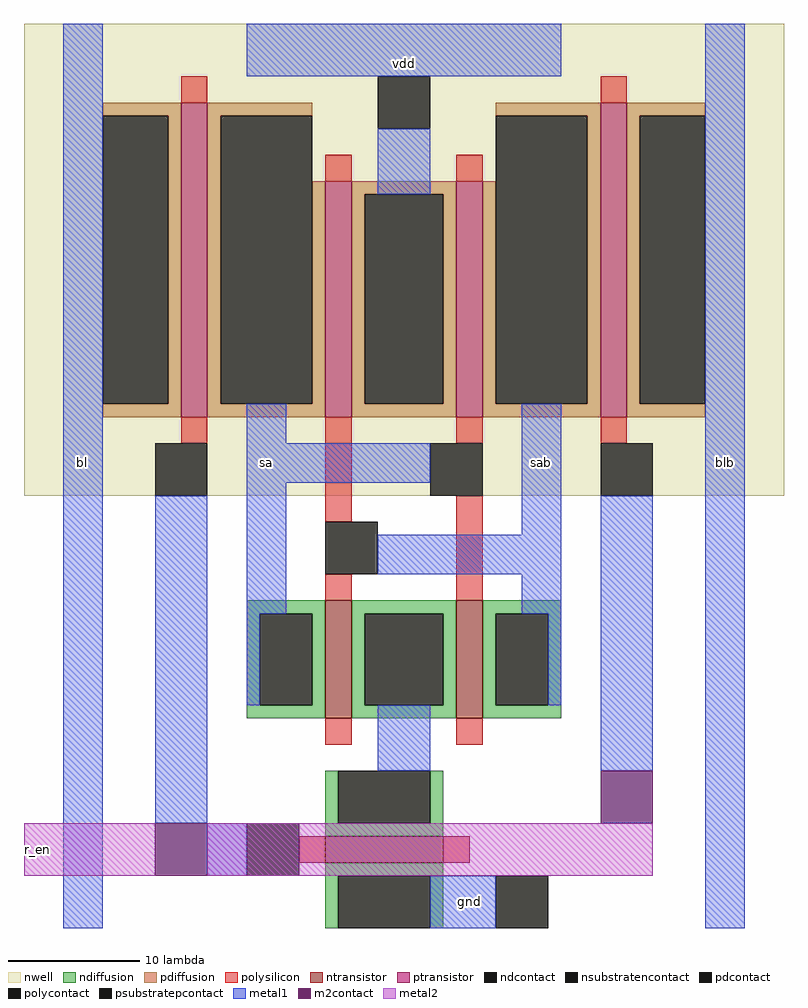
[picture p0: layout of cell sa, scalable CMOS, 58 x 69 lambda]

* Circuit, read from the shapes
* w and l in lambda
.subckt sa bl blb gnd r_en sab vdd
M1 n1 r_en gnd gnd nfet w=9 l=2
M2 n1 sab n2 gnd nfet w=9 l=2
M3 sab n2 n1 gnd nfet w=9 l=2
M4 n2 r_en bl vdd pfet w=24 l=2
M5 vdd sab n2 vdd pfet w=18 l=2
M6 sab n2 vdd vdd pfet w=18 l=2
M7 blb r_en sab vdd pfet w=24 l=2
.ends

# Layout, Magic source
magic
tech scmos
<< nwell >>
rect -25 -98 33 -62
<< ntransistor >>
rect -2 -115 0 -106
rect 8 -115 10 -106
rect -2 -126 7 -124
<< ptransistor >>
rect -13 -92 -11 -68
rect -2 -92 0 -74
rect 8 -92 10 -74
rect 19 -92 21 -68
<< ndiffusion >>
rect -8 -107 -2 -106
rect -8 -114 -7 -107
rect -3 -114 -2 -107
rect -8 -115 -2 -114
rect 0 -107 8 -106
rect 0 -114 1 -107
rect 7 -114 8 -107
rect 0 -115 8 -114
rect 10 -107 16 -106
rect 10 -114 11 -107
rect 15 -114 16 -107
rect 10 -115 16 -114
rect -2 -123 -1 -119
rect 6 -123 7 -119
rect -2 -124 7 -123
rect -2 -127 7 -126
rect -2 -131 -1 -127
rect 6 -131 7 -127
<< pdiffusion >>
rect -19 -69 -13 -68
rect -14 -91 -13 -69
rect -19 -92 -13 -91
rect -11 -69 -3 -68
rect -11 -91 -10 -69
rect 11 -69 19 -68
rect -3 -91 -2 -74
rect -11 -92 -2 -91
rect 0 -75 8 -74
rect 0 -91 1 -75
rect 7 -91 8 -75
rect 0 -92 8 -91
rect 10 -91 11 -74
rect 18 -91 19 -69
rect 10 -92 19 -91
rect 21 -69 27 -68
rect 21 -91 22 -69
rect 21 -92 27 -91
<< ndcontact >>
rect -7 -114 -3 -107
rect 1 -114 7 -107
rect 11 -114 15 -107
rect -1 -123 6 -119
rect -1 -131 6 -127
<< pdcontact >>
rect -19 -91 -14 -69
rect -10 -91 -3 -69
rect 1 -91 7 -75
rect 11 -91 18 -69
rect 22 -91 27 -69
<< psubstratepcontact >>
rect 11 -131 15 -127
<< nsubstratencontact >>
rect 2 -70 6 -66
<< polysilicon >>
rect -13 -68 -11 -66
rect 19 -68 21 -66
rect -2 -74 0 -72
rect 8 -74 10 -72
rect -13 -94 -11 -92
rect -2 -100 0 -92
rect 8 -94 10 -92
rect 19 -94 21 -92
rect -2 -106 0 -104
rect 8 -106 10 -98
rect -2 -117 0 -115
rect 8 -117 10 -115
rect -4 -126 -2 -124
rect 7 -126 9 -124
<< polycontact >>
rect -15 -98 -11 -94
rect 6 -98 10 -94
rect 19 -98 23 -94
rect -2 -104 2 -100
rect -8 -127 -4 -123
<< metal1 >>
rect -22 -131 -19 -62
rect -8 -66 16 -62
rect 2 -75 6 -70
rect -8 -94 -5 -91
rect -15 -123 -11 -98
rect -8 -97 6 -94
rect -8 -107 -5 -97
rect 13 -101 16 -91
rect 2 -104 16 -101
rect 13 -107 16 -104
rect -8 -114 -7 -107
rect 15 -114 16 -107
rect 2 -119 6 -114
rect 19 -119 23 -98
rect -11 -127 -8 -123
rect 6 -131 11 -127
rect 27 -131 30 -62
<< m2contact >>
rect 19 -123 23 -119
rect -15 -127 -11 -123
<< metal2 >>
rect -25 -127 -15 -123
rect -11 -127 23 -123
<< labels >>
rlabel metal1 -21 -96 -20 -95 3 bl
rlabel metal1 28 -96 29 -95 1 blb
rlabel metal1 -7 -96 -6 -95 1 sa
rlabel metal1 14 -96 15 -95 1 sab
rlabel metal1 9 -129 9 -129 1 gnd
rlabel metal2 -24 -125 -24 -125 3 r_en
rlabel metal1 4 -65 4 -65 1 vdd
<< end >>
